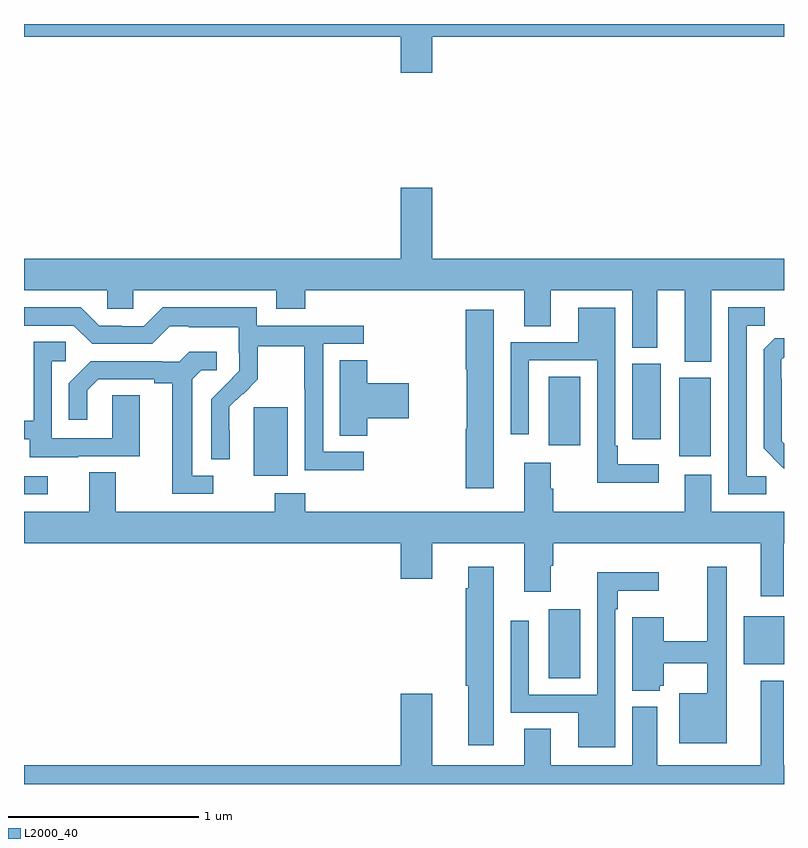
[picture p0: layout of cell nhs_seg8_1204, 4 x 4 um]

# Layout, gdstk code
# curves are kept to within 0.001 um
import gdstk
lib = gdstk.Library(unit=1e-6, precision=1e-09)
def R(c, l, rs):  # rectangles x0, y0, x1, y1
    for r in rs: c.add(gdstk.rectangle(r[:2], r[2:], *l))
def P(c, l, *ps):  # polygons
    for p in ps: c.add(gdstk.Polygon(p, *l))
L2000_40 = (2000, 40)

nhs_seg8_1204 = lib.new_cell('nhs_seg8_1204')
R(nhs_seg8_1204, L2000_40, [(189.761,1114.456,189.928,1114.819), (190.787,1114.529,191,1114.783), (187,1115.424,187.126,1115.52), (188.21,1115.522,188.389,1115.883), (190.448,1115.625,190.615,1116.037), (189.761,1115.682,189.928,1116.044), (190.202,1115.715,190.351,1116.111)])
P(nhs_seg8_1204, L2000_40, [(189.148,1117.832),(191,1117.832),(191,1117.9),(187,1117.9),(187,1117.832),(188.984,1117.832),(188.984,1117.644),(189.148,1117.644)],
  [(190.618,1116.5),(191,1116.5),(191,1116.664),(189.148,1116.664),(189.148,1117.039),(188.984,1117.039),(188.984,1116.664),(187,1116.664),(187,1116.5),(187.437,1116.5),(187.437,1116.402),(187.575,1116.402),(187.575,1116.5),(188.327,1116.5),(188.327,1116.401),(188.48,1116.401),(188.48,1116.5),(189.632,1116.5),(189.632,1116.31),(189.772,1116.31),(189.772,1116.5),(190.202,1116.5),(190.202,1116.196),(190.333,1116.196),(190.333,1116.5),(190.478,1116.5),(190.478,1116.122),(190.618,1116.122)],
  [(188.788,1115.649),(188.574,1115.649),(188.574,1116.216),(188.788,1116.216),(188.788,1116.312),(188.226,1116.312),(188.226,1116.409),(187.729,1116.409),(187.629,1116.309),(187.514,1116.309),(187.514,1116.312),(187.395,1116.312),(187.299,1116.408),(187,1116.408),(187,1116.312),(187.263,1116.312),(187.359,1116.216),(187.674,1116.216),(187.767,1116.309),(187.867,1116.309),(187.867,1116.305),(188.13,1116.305),(188.13,1116.171),(188.132,1116.171),(188.132,1116.074),(187.986,1115.926),(187.986,1115.608),(188.082,1115.608),(188.081,1115.885),(188.151,1115.955),(188.154,1115.952),(188.231,1116.029),(188.231,1116.204),(188.476,1116.204),(188.476,1115.98),(188.478,1115.98),(188.478,1115.551),(188.788,1115.551)],
  [(190.906,1115.52),(190.803,1115.52),(190.803,1116.313),(190.899,1116.313),(190.899,1116.408),(190.707,1116.408),(190.707,1115.424),(190.906,1115.424)],
  [(190.342,1115.584),(190.126,1115.584),(190.126,1115.68),(190.113,1115.68),(190.113,1116.406),(189.917,1116.406),(189.917,1116.225),(189.561,1116.225),(189.561,1115.742),(189.657,1115.742),(189.657,1116.129),(190.017,1116.129),(190.017,1115.486),(190.342,1115.486)],
  [(189.472,1116.397),(189.326,1116.397),(189.326,1116.084),(189.331,1116.084),(189.331,1115.769),(189.326,1115.769),(189.326,1115.457),(189.472,1115.457)],
  [(191,1115.692),(190.989,1115.703),(190.989,1116.032),(190.986,1116.032),(190.986,1116.132),(191,1116.146),(191,1116.247),(190.952,1116.247),(190.893,1116.188),(190.893,1115.666),(190.985,1115.573),(191,1115.558)],
  [(187.285,1115.625),(187.609,1115.625),(187.609,1115.945),(187.464,1115.945),(187.464,1115.721),(187.146,1115.721),(187.146,1116.126),(187.219,1116.126),(187.219,1116.227),(187.05,1116.227),(187.05,1115.811),(187,1115.811),(187,1115.715),(187.031,1115.715),(187.031,1115.621),(187.285,1115.621)],
  [(187.996,1115.523),(187.885,1115.523),(187.885,1116.031),(187.932,1116.078),(188.014,1116.078),(188.014,1116.175),(187.87,1116.175),(187.818,1116.123),(187.724,1116.123),(187.724,1116.126),(187.352,1116.126),(187.236,1116.01),(187.236,1115.817),(187.333,1115.817),(187.333,1115.973),(187.39,1116.03),(187.685,1116.03),(187.685,1116.008),(187.781,1116.008),(187.781,1115.427),(187.996,1115.427)],
  [(188.807,1115.825),(189.025,1115.825),(189.025,1116.008),(188.807,1116.008),(188.807,1116.131),(188.663,1116.131),(188.663,1115.734),(188.807,1115.734)],
  [(189.632,1115.59),(189.632,1115.332),(188.48,1115.332),(188.48,1115.431),(188.32,1115.431),(188.32,1115.332),(187.483,1115.332),(187.483,1115.54),(187.343,1115.54),(187.343,1115.332),(187,1115.332),(187,1115.168),(188.984,1115.168),(188.984,1114.98),(189.148,1114.98),(189.148,1115.168),(189.632,1115.168),(189.632,1114.911),(189.772,1114.911),(189.772,1115.048),(189.785,1115.048),(189.785,1115.168),(190.877,1115.168),(190.877,1114.887),(190.999,1114.887),(190.999,1115.168),(191,1115.168),(191,1115.332),(190.618,1115.332),(190.618,1115.527),(190.478,1115.527),(190.478,1115.332),(189.785,1115.332),(189.785,1115.453),(189.772,1115.453),(189.772,1115.59)],
  [(190.699,1115.044),(190.595,1115.044),(190.595,1114.652),(190.366,1114.652),(190.366,1114.777),(190.202,1114.777),(190.202,1114.391),(190.347,1114.391),(190.347,1114.416),(190.366,1114.416),(190.366,1114.535),(190.595,1114.535),(190.595,1114.378),(190.448,1114.378),(190.448,1114.115),(190.699,1114.115)],
  [(189.472,1115.044),(189.338,1115.044),(189.338,1114.931),(189.326,1114.931),(189.326,1114.416),(189.338,1114.416),(189.338,1114.104),(189.472,1114.104)],
  [(190.113,1114.82),(190.126,1114.82),(190.126,1114.916),(190.342,1114.916),(190.342,1115.014),(190.017,1115.014),(190.017,1114.371),(189.657,1114.371),(189.657,1114.759),(189.561,1114.759),(189.561,1114.275),(189.917,1114.275),(189.917,1114.094),(190.113,1114.094)],
  [(191,1114),(190.999,1114),(190.999,1114.444),(190.877,1114.444),(190.877,1114),(190.333,1114),(190.333,1114.306),(190.202,1114.306),(190.202,1114),(189.772,1114),(189.772,1114.19),(189.632,1114.19),(189.632,1114),(189.148,1114),(189.148,1114.375),(188.984,1114.375),(188.984,1114),(187,1114),(187,1113.9),(191,1113.9)])

lib.write_gds('nhs_seg8_1204.gds')
